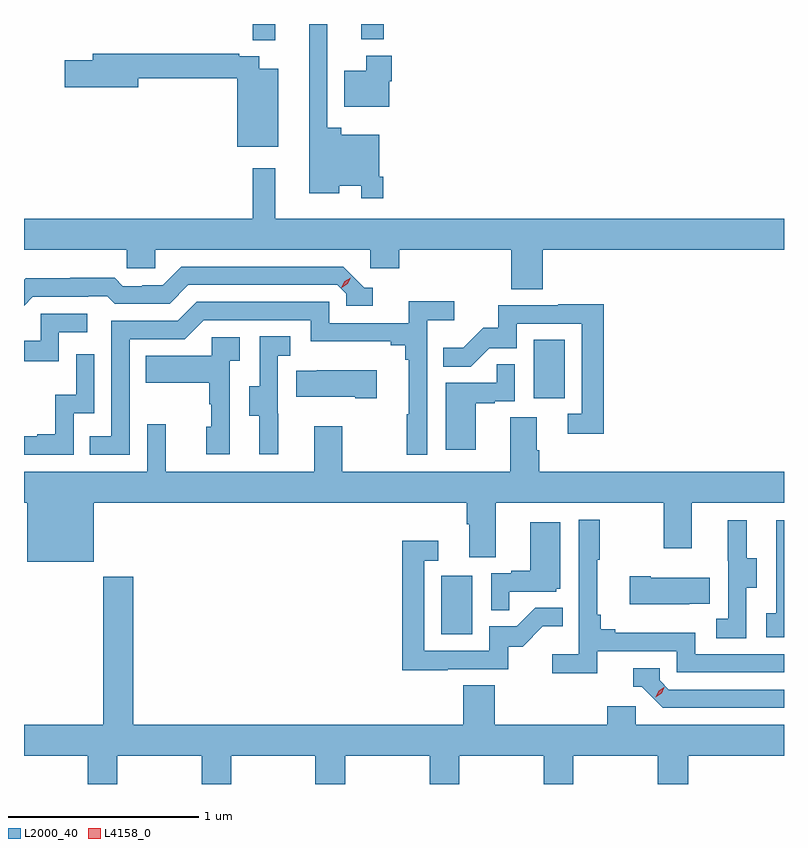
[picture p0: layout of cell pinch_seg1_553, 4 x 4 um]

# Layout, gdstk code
import gdstk
lib = gdstk.Library(unit=1e-6, precision=1e-09)
def R(c, l, rs):  # rectangles x0, y0, x1, y1
    for r in rs: c.add(gdstk.rectangle(r[:2], r[2:], *l))
def P(c, l, *ps):  # polygons
    for p in ps: c.add(gdstk.Polygon(p, *l))
L2000_40 = (2000, 40)
L4158_0 = (4158, 0)

pinch_seg1_553 = lib.new_cell('pinch_seg1_553')
R(pinch_seg1_553, L2000_40, [(1031.342,536.388,1031.506,536.695), (1031.828,537.63,1031.992,537.937), (1030.351,539.515,1030.469,539.6), (1030.922,539.519,1031.039,539.6)])
P(pinch_seg1_553, L2000_40, [(1031.036,538.795),(1031.016,538.795),(1031.016,539.017),(1030.817,539.017),(1030.817,539.053),(1030.743,539.053),(1030.743,539.6),(1030.646,539.6),(1030.646,538.709),(1030.804,538.709),(1030.804,538.748),(1030.92,538.748),(1030.92,538.683),(1031.036,538.683)],
  [(1030.483,539.365),(1030.384,539.365),(1030.384,539.43),(1030.28,539.43),(1030.28,539.443),(1029.509,539.443),(1029.509,539.409),(1029.36,539.409),(1029.36,539.267),(1029.748,539.267),(1029.748,539.314),(1030.268,539.314),(1030.268,538.955),(1030.483,538.955)],
  [(1031.068,539.298),(1031.081,539.298),(1031.081,539.434),(1030.946,539.434),(1030.946,539.353),(1030.832,539.353),(1030.832,539.165),(1031.068,539.165)],
  [(1031.876,538.412),(1033.146,538.412),(1033.146,538.576),(1030.468,538.576),(1030.468,538.84),(1030.351,538.84),(1030.351,538.576),(1029.146,538.576),(1029.146,538.412),(1029.687,538.412),(1029.687,538.314),(1029.837,538.314),(1029.837,538.412),(1030.968,538.412),(1030.968,538.314),(1031.12,538.314),(1031.12,538.412),(1031.711,538.412),(1031.711,538.204),(1031.876,538.204)],
  [(1030.981,538.212),(1030.938,538.212),(1030.827,538.323),(1029.974,538.323),(1029.875,538.224),(1029.768,538.224),(1029.768,538.221),(1029.665,538.221),(1029.623,538.264),(1029.39,538.264),(1029.39,538.261),(1029.154,538.261),(1029.146,538.253),(1029.146,538.118),(1029.192,538.164),(1029.485,538.164),(1029.485,538.167),(1029.584,538.167),(1029.623,538.128),(1029.912,538.128),(1030.011,538.227),(1030.794,538.227),(1030.842,538.179),(1030.842,538.116),(1030.981,538.116)],
  [(1029.702,537.942),(1029.993,537.942),(1030.092,538.041),(1030.656,538.041),(1030.656,537.929),(1031.075,537.929),(1031.075,537.91),(1031.152,537.91),(1031.152,537.833),(1031.171,537.833),(1031.171,537.545),(1031.16,537.545),(1031.16,537.333),(1031.268,537.333),(1031.268,538.04),(1031.41,538.04),(1031.41,538.142),(1031.171,538.142),(1031.171,538.026),(1030.752,538.026),(1030.752,538.137),(1030.055,538.137),(1029.956,538.038),(1029.606,538.038),(1029.606,537.429),(1029.493,537.429),(1029.493,537.333),(1029.702,537.333)],
  [(1032.197,538.124),(1031.959,538.124),(1031.959,538.119),(1031.641,538.119),(1031.641,538.002),(1031.564,538.002),(1031.457,537.895),(1031.353,537.895),(1031.353,537.796),(1031.497,537.796),(1031.595,537.894),(1031.739,537.894),(1031.739,538.023),(1032.081,538.023),(1032.081,537.549),(1032.009,537.549),(1032.009,537.444),(1032.197,537.444)],
  [(1029.33,537.978),(1029.478,537.978),(1029.478,538.074),(1029.234,538.074),(1029.234,537.933),(1029.146,537.933),(1029.146,537.825),(1029.33,537.825)],
  [(1030.484,537.549),(1030.482,537.549),(1030.482,537.853),(1030.546,537.853),(1030.546,537.956),(1030.386,537.956),(1030.386,537.693),(1030.331,537.693),(1030.331,537.538),(1030.385,537.538),(1030.385,537.336),(1030.484,537.336)],
  [(1030.23,537.827),(1030.282,537.827),(1030.282,537.951),(1030.134,537.951),(1030.134,537.853),(1029.787,537.853),(1029.787,537.713),(1030.122,537.713),(1030.122,537.599),(1030.132,537.599),(1030.132,537.48),(1030.106,537.48),(1030.106,537.336),(1030.23,537.336)],
  [(1029.408,537.552),(1029.516,537.552),(1029.516,537.862),(1029.42,537.862),(1029.42,537.65),(1029.311,537.65),(1029.311,537.442),(1029.215,537.442),(1029.215,537.429),(1029.146,537.429),(1029.146,537.333),(1029.408,537.333)],
  [(1031.524,537.603),(1031.624,537.603),(1031.624,537.615),(1031.73,537.615),(1031.73,537.809),(1031.635,537.809),(1031.635,537.711),(1031.366,537.711),(1031.366,537.36),(1031.524,537.36)],
  [(1031.002,537.778),(1030.687,537.778),(1030.687,537.775),(1030.579,537.775),(1030.579,537.638),(1030.889,537.638),(1030.889,537.631),(1031.002,537.631)],
  [(1029.514,537.08),(1031.477,537.08),(1031.477,536.968),(1031.489,536.968),(1031.489,536.794),(1031.629,536.794),(1031.629,537.08),(1032.514,537.08),(1032.514,536.841),(1032.661,536.841),(1032.661,537.08),(1033.146,537.08),(1033.146,537.244),(1031.858,537.244),(1031.858,537.356),(1031.845,537.356),(1031.845,537.53),(1031.705,537.53),(1031.705,537.244),(1030.821,537.244),(1030.821,537.484),(1030.673,537.484),(1030.673,537.244),(1029.893,537.244),(1029.893,537.493),(1029.795,537.493),(1029.795,537.244),(1029.146,537.244),(1029.146,537.08),(1029.164,537.08),(1029.164,536.771),(1029.514,536.771)],
  [(1032.164,536.298),(1032.582,536.298),(1032.582,536.187),(1033.146,536.187),(1033.146,536.283),(1032.678,536.283),(1032.678,536.395),(1032.259,536.395),(1032.259,536.414),(1032.182,536.414),(1032.182,536.491),(1032.163,536.491),(1032.163,536.779),(1032.175,536.779),(1032.175,536.992),(1032.066,536.992),(1032.066,536.284),(1031.925,536.284),(1031.925,536.182),(1032.164,536.182)],
  [(1032.948,536.632),(1033.003,536.632),(1033.003,536.787),(1032.949,536.787),(1032.949,536.989),(1032.851,536.989),(1032.851,536.775),(1032.852,536.775),(1032.852,536.471),(1032.789,536.471),(1032.789,536.368),(1032.948,536.368)],
  [(1033.146,536.989),(1033.104,536.989),(1033.104,536.498),(1033.053,536.498),(1033.053,536.373),(1033.146,536.373)],
  [(1031.699,536.613),(1031.946,536.613),(1031.946,536.628),(1031.968,536.628),(1031.968,536.977),(1031.81,536.977),(1031.81,536.722),(1031.711,536.722),(1031.711,536.709),(1031.604,536.709),(1031.604,536.515),(1031.699,536.515)],
  [(1031.375,536.205),(1031.694,536.205),(1031.694,536.322),(1031.77,536.322),(1031.877,536.429),(1031.981,536.429),(1031.981,536.528),(1031.837,536.528),(1031.739,536.43),(1031.595,536.43),(1031.595,536.301),(1031.253,536.301),(1031.253,536.775),(1031.326,536.775),(1031.326,536.881),(1031.137,536.881),(1031.137,536.2),(1031.375,536.2)],
  [(1032.647,536.549),(1032.755,536.549),(1032.755,536.686),(1032.445,536.686),(1032.445,536.694),(1032.333,536.694),(1032.333,536.546),(1032.647,536.546)],
  [(1029.636,535.748),(1030.081,535.748),(1030.081,535.6),(1030.236,535.6),(1030.236,535.748),(1030.68,535.748),(1030.68,535.6),(1030.836,535.6),(1030.836,535.748),(1031.281,535.748),(1031.281,535.6),(1031.436,535.6),(1031.436,535.748),(1031.881,535.748),(1031.881,535.6),(1032.036,535.6),(1032.036,535.748),(1032.481,535.748),(1032.481,535.6),(1032.641,535.6),(1032.641,535.748),(1033.146,535.748),(1033.146,535.912),(1032.366,535.912),(1032.366,536.01),(1032.215,536.01),(1032.215,535.912),(1031.624,535.912),(1031.624,536.12),(1031.459,536.12),(1031.459,535.912),(1029.722,535.912),(1029.722,536.692),(1029.562,536.692),(1029.562,535.912),(1029.146,535.912),(1029.146,535.748),(1029.481,535.748),(1029.481,535.6),(1029.636,535.6)],
  [(1033.146,536.097),(1032.54,536.097),(1032.492,536.145),(1032.492,536.208),(1032.353,536.208),(1032.353,536.112),(1032.396,536.112),(1032.507,536.001),(1033.146,536.001)])
P(pinch_seg1_553, L4158_0, [(1032.471,536.057),(1032.471,536.057),(1032.486,536.09),(1032.516,536.11),(1032.517,536.11),(1032.517,536.11),(1032.502,536.077),(1032.471,536.057)],
  [(1030.817,538.213),(1030.817,538.213),(1030.834,538.246),(1030.865,538.265),(1030.866,538.265),(1030.866,538.265),(1030.849,538.232),(1030.818,538.213)])

lib.write_gds('pinch_seg1_553.gds')
